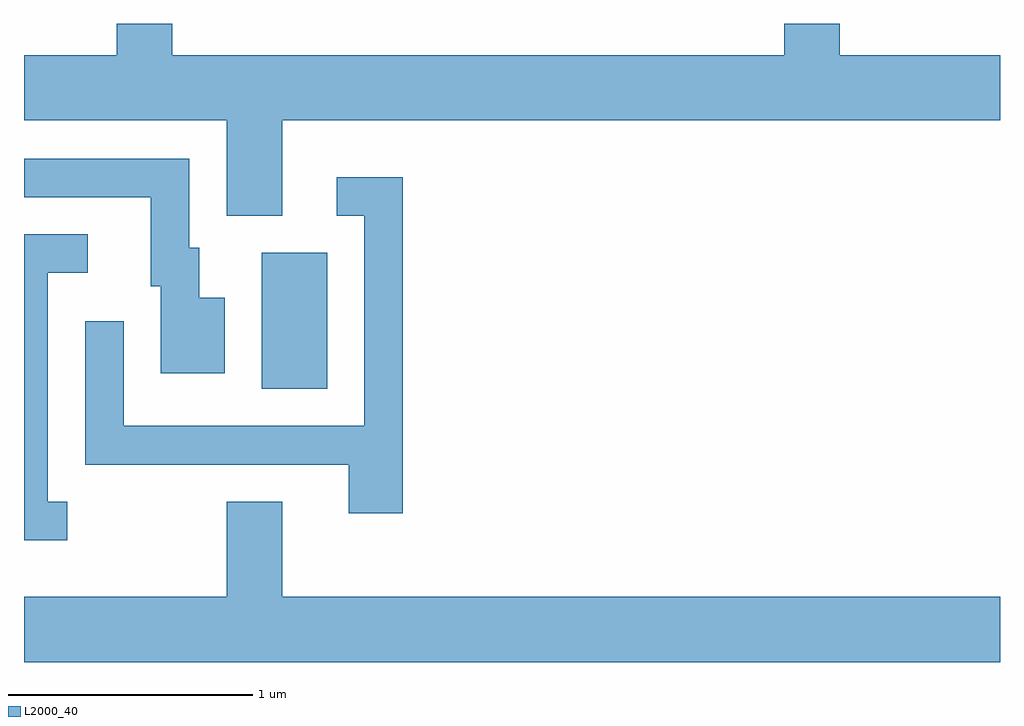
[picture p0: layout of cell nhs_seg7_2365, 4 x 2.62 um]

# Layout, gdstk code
import gdstk
lib = gdstk.Library(unit=1e-6, precision=1e-09)
def R(c, l, rs):  # rectangles x0, y0, x1, y1
    for r in rs: c.add(gdstk.rectangle(r[:2], r[2:], *l))
def P(c, l, *ps):  # polygons
    for p in ps: c.add(gdstk.Polygon(p, *l))
L2000_40 = (2000, 40)

nhs_seg7_2365 = lib.new_cell('nhs_seg7_2365')
R(nhs_seg7_2365, L2000_40, [(258.586,1728.756,258.854,1729.314)])
P(nhs_seg7_2365, L2000_40, [(258.669,1729.856),(261.611,1729.856),(261.611,1730.124),(260.954,1730.124),(260.954,1730.252),(260.726,1730.252),(260.726,1730.124),(258.219,1730.124),(258.219,1730.252),(257.991,1730.252),(257.991,1730.124),(257.611,1730.124),(257.611,1729.856),(258.441,1729.856),(258.441,1729.466),(258.669,1729.466)],
  [(258.434,1729.129),(258.329,1729.129),(258.329,1729.334),(258.289,1729.334),(258.289,1729.699),(257.611,1729.699),(257.611,1729.541),(258.131,1729.541),(258.131,1729.176),(258.171,1729.176),(258.171,1728.821),(258.434,1728.821)],
  [(259.164,1729.624),(258.892,1729.624),(258.892,1729.466),(259.006,1729.466),(259.006,1728.604),(258.019,1728.604),(258.019,1729.033),(257.861,1729.033),(257.861,1728.446),(258.941,1728.446),(258.941,1728.246),(259.164,1728.246)],
  [(257.788,1728.294),(257.709,1728.294),(257.709,1729.231),(257.873,1729.231),(257.873,1729.389),(257.611,1729.389),(257.611,1728.136),(257.788,1728.136)],
  [(261.611,1727.904),(258.669,1727.904),(258.669,1728.294),(258.441,1728.294),(258.441,1727.904),(257.611,1727.904),(257.611,1727.636),(261.611,1727.636)])

lib.write_gds('nhs_seg7_2365.gds')
